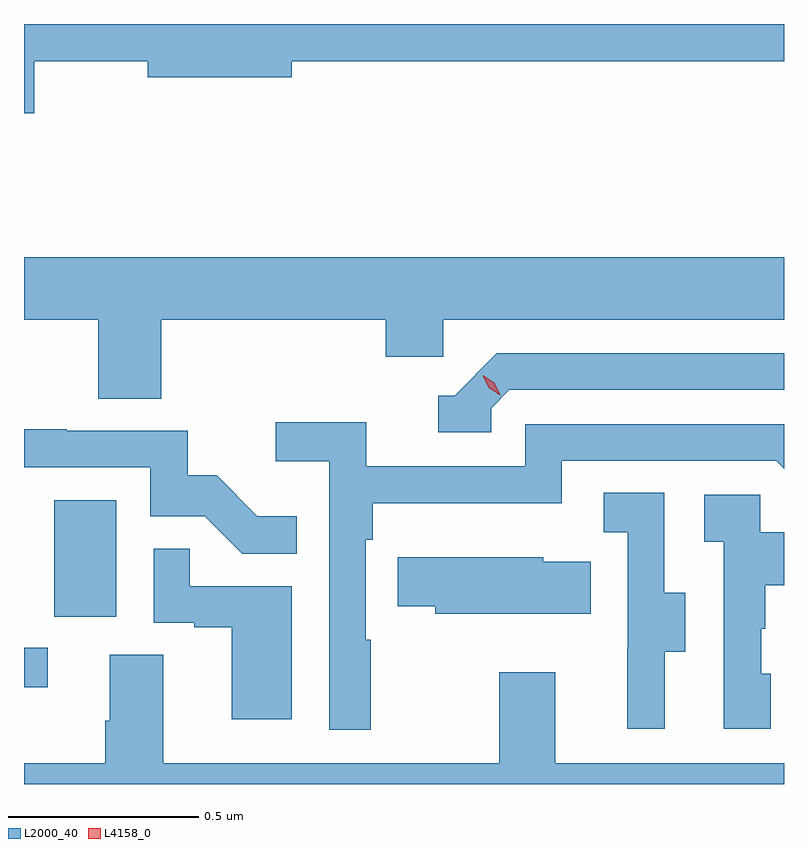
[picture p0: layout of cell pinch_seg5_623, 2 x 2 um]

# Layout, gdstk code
import gdstk
lib = gdstk.Library(unit=1e-6, precision=1e-09)
def R(c, l, rs):  # rectangles x0, y0, x1, y1
    for r in rs: c.add(gdstk.rectangle(r[:2], r[2:], *l))
def P(c, l, *ps):  # polygons
    for p in ps: c.add(gdstk.Polygon(p, *l))
L2000_40 = (2000, 40)
L4158_0 = (4158, 0)

pinch_seg5_623 = lib.new_cell('pinch_seg5_623')
R(pinch_seg5_623, L2000_40, [(1030.597,870.444,1030.66,870.549), (1030.676,870.63,1030.84,870.937)])
P(pinch_seg5_623, L2000_40, [(1030.624,872.092),(1030.922,872.092),(1030.922,872.05),(1031.302,872.05),(1031.302,872.092),(1032.597,872.092),(1032.597,872.19),(1030.597,872.19),(1030.597,871.955),(1030.624,871.955)],
  [(1030.958,871.412),(1031.549,871.412),(1031.549,871.314),(1031.7,871.314),(1031.7,871.412),(1032.597,871.412),(1032.597,871.576),(1030.597,871.576),(1030.597,871.412),(1030.793,871.412),(1030.793,871.204),(1030.958,871.204)],
  [(1031.826,871.179),(1031.874,871.227),(1032.597,871.227),(1032.597,871.323),(1031.841,871.323),(1031.73,871.212),(1031.687,871.212),(1031.687,871.116),(1031.826,871.116)],
  [(1031.509,870.569),(1031.496,870.569),(1031.496,870.833),(1031.515,870.833),(1031.515,870.929),(1032.012,870.929),(1032.012,871.041),(1032.576,871.041),(1032.597,871.02),(1032.597,871.137),(1031.916,871.137),(1031.916,871.026),(1031.498,871.026),(1031.498,871.142),(1031.259,871.142),(1031.259,871.04),(1031.4,871.04),(1031.4,870.333),(1031.509,870.333)],
  [(1031.315,870.895),(1031.211,870.895),(1031.104,871.002),(1031.028,871.002),(1031.028,871.119),(1030.709,871.119),(1030.709,871.124),(1030.597,871.124),(1030.597,871.023),(1030.929,871.023),(1030.929,870.894),(1031.073,870.894),(1031.171,870.796),(1031.315,870.796)],
  [(1032.283,870.538),(1032.337,870.538),(1032.337,870.693),(1032.282,870.693),(1032.282,870.956),(1032.123,870.956),(1032.123,870.853),(1032.186,870.853),(1032.186,870.549),(1032.185,870.549),(1032.185,870.336),(1032.283,870.336)],
  [(1032.562,870.48),(1032.537,870.48),(1032.537,870.599),(1032.547,870.599),(1032.547,870.713),(1032.597,870.713),(1032.597,870.853),(1032.534,870.853),(1032.534,870.951),(1032.387,870.951),(1032.387,870.827),(1032.438,870.827),(1032.438,870.336),(1032.562,870.336)],
  [(1031.302,870.711),(1031.033,870.711),(1031.033,870.809),(1030.938,870.809),(1030.938,870.615),(1031.045,870.615),(1031.045,870.603),(1031.144,870.603),(1031.144,870.36),(1031.302,870.36)],
  [(1032.089,870.775),(1031.964,870.775),(1031.964,870.787),(1031.581,870.787),(1031.581,870.658),(1031.679,870.658),(1031.679,870.638),(1032.089,870.638)],
  [(1032.597,870.244),(1031.995,870.244),(1031.995,870.484),(1031.848,870.484),(1031.848,870.244),(1030.963,870.244),(1030.963,870.53),(1030.823,870.53),(1030.823,870.356),(1030.811,870.356),(1030.811,870.244),(1030.597,870.244),(1030.597,870.19),(1032.597,870.19)])
P(pinch_seg5_623, L4158_0, [(1031.85,871.213),(1031.82,871.233),(1031.804,871.266),(1031.804,871.266),(1031.804,871.266),(1031.835,871.246),(1031.85,871.213),(1031.85,871.213)])

lib.write_gds('pinch_seg5_623.gds')
